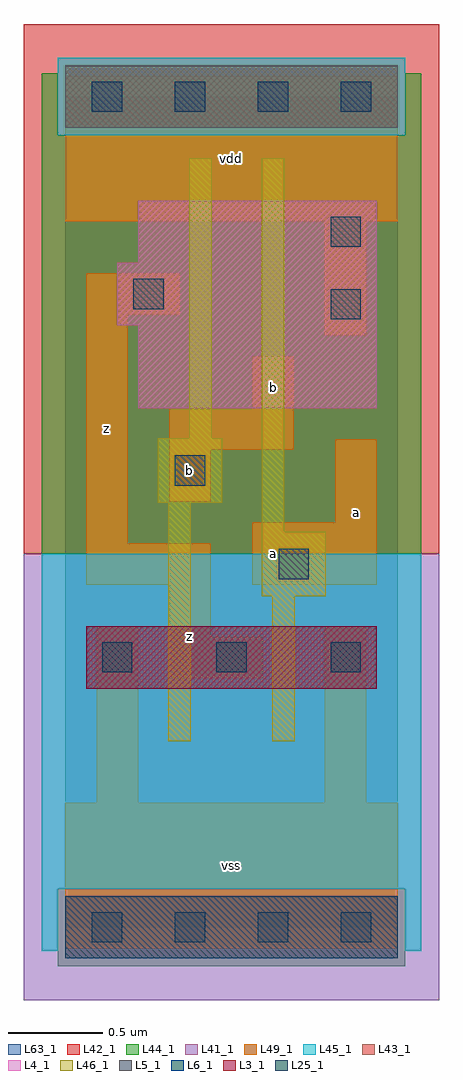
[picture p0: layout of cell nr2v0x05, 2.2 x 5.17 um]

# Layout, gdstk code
import gdstk
lib = gdstk.Library(unit=1e-6, precision=1e-09)
def R(c, l, rs):  # rectangles x0, y0, x1, y1
    for r in rs: c.add(gdstk.rectangle(r[:2], r[2:], *l))
def A(c, l, x, y, w, h, nx, ny, dx, dy):  # array of equal rectangles
    R(c, l, [(x+i*dx, y+j*dy, x+i*dx+w, y+j*dy+h) for i in range(nx) for j in range(ny)])
L3_1 = (3, 1)
L4_1 = (4, 1)
L5_1 = (5, 1)
L6_1 = (6, 1)
L25_1 = (25, 1)
L41_1 = (41, 1)
L42_1 = (42, 1)
L43_1 = (43, 1)
L44_1 = (44, 1)
L45_1 = (45, 1)
L46_1 = (46, 1)
L49_1 = (49, 1)
L63_1 = (63, 1)

nr2v0x05 = lib.new_cell('nr2v0x05')
R(nr2v0x05, L3_1, [(0.11,1.265,1.65,1.595)])
R(nr2v0x05, L4_1, [(0.385,2.75,1.65,3.19), (0.275,3.19,1.65,3.52), (0.385,3.52,1.65,3.85)])
R(nr2v0x05, L5_1, [(0,4.235,1.76,4.565)])
R(nr2v0x05, L6_1, [(0,-0.165,1.76,0.165)])
A(nr2v0x05, L25_1, 0.14, -0.08, 0.16, 0.16, 4, 2, 0.44, 4.4)
A(nr2v0x05, L25_1, 0.195, 1.35, 0.16, 0.16, 3, 1, 0.605, 0)
R(nr2v0x05, L25_1, [(1.13,1.845,1.29,2.005), (0.58,2.34,0.74,2.5), (1.405,3.22,1.565,3.38), (0.36,3.275,0.52,3.435), (1.405,3.605,1.565,3.765)])
R(nr2v0x05, L41_1, [(-0.22,-0.385,1.98,1.98)])
R(nr2v0x05, L42_1, [(-0.22,1.98,1.98,4.785)])
R(nr2v0x05, L43_1, [(0,-0.165,1.76,0.165), (0.11,1.265,1.65,1.595), (0.385,2.75,1.65,3.19), (0.275,3.19,1.65,3.52), (0.385,3.52,1.65,3.85), (0,4.235,1.76,4.565)])
R(nr2v0x05, L44_1, [(-0.04,-0.205,1.8,0.205), (-0.125,1.98,1.885,4.195), (-0.125,4.195,-0.04,4.525), (1.8,4.195,1.885,4.525)])
R(nr2v0x05, L45_1, [(-0.125,-0.125,-0.04,0.205), (1.8,-0.125,1.885,0.205), (-0.125,0.205,1.885,1.98), (-0.04,4.195,1.8,4.605)])
R(nr2v0x05, L46_1, [(0.545,0.985,0.665,2.25), (1.095,0.985,1.215,1.755), (1.04,1.755,1.38,2.095), (1.04,2.095,1.16,4.075), (0.49,2.25,0.83,2.59), (0.655,2.59,0.775,4.075)])
R(nr2v0x05, L49_1, [(0,-0.11,1.76,0.66), (0.165,0.66,0.385,1.595), (1.375,0.66,1.595,1.595), (0.55,1.32,1.045,1.54), (0.55,1.54,0.77,1.815), (0.11,1.815,0.77,2.035), (0.99,1.815,1.65,2.145), (0.11,2.035,0.33,3.245), (1.43,2.145,1.65,2.585), (0.55,2.255,0.77,2.53), (0.55,2.53,1.21,2.75), (0.99,2.75,1.21,3.025), (1.375,3.135,1.595,3.74), (0.11,3.245,0.605,3.465), (0,3.74,1.76,4.51)])
R(nr2v0x05, L63_1, [(0,0,1.76,4.4)])
nr2v0x05.add(gdstk.Label('z', (0.22,2.64), layer=49, texttype=1))
nr2v0x05.add(gdstk.Label('z', (0.66,1.54), layer=49, texttype=1))
nr2v0x05.add(gdstk.Label('b', (0.66,2.42), layer=49, texttype=1))
nr2v0x05.add(gdstk.Label('vss', (0.88,0.33), layer=49, texttype=1))
nr2v0x05.add(gdstk.Label('a', (1.1,1.98), layer=49, texttype=1))
nr2v0x05.add(gdstk.Label('b', (1.1,2.86), layer=49, texttype=1))
nr2v0x05.add(gdstk.Label('vdd', (0.88,4.07), layer=49, texttype=1))
nr2v0x05.add(gdstk.Label('a', (1.54,2.2), layer=49, texttype=1))

lib.write_gds('nr2v0x05.gds')
